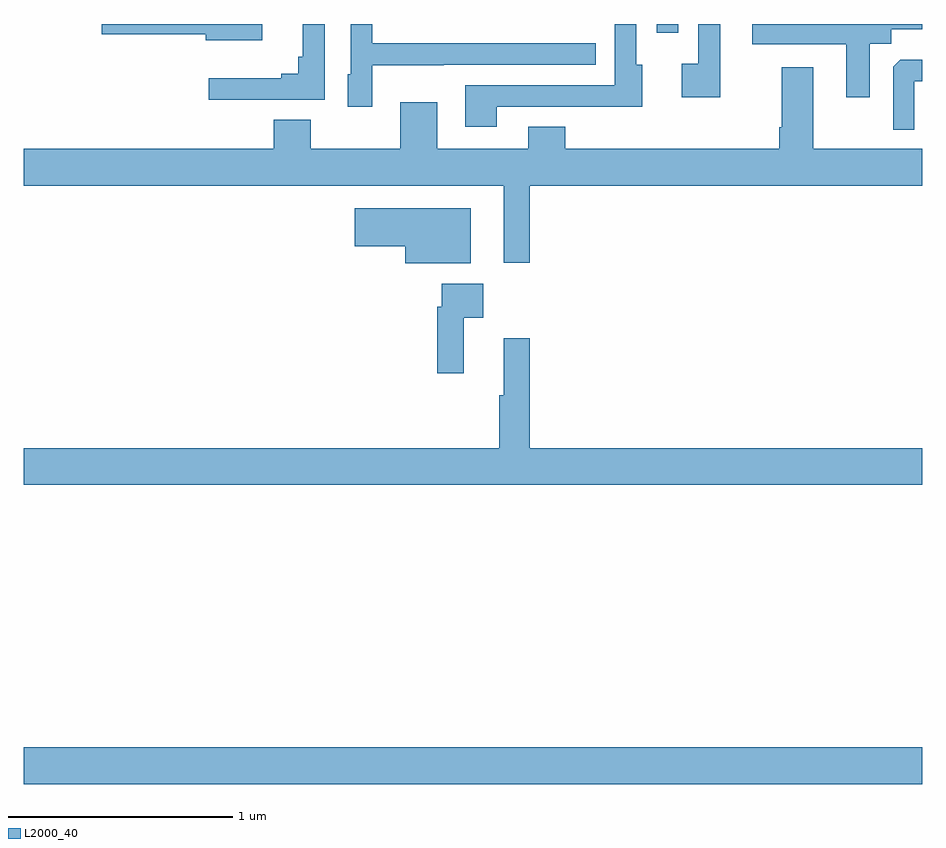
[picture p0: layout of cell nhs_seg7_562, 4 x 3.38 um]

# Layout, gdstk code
import gdstk
lib = gdstk.Library(unit=1e-6, precision=1e-09)
def R(c, l, rs):  # rectangles x0, y0, x1, y1
    for r in rs: c.add(gdstk.rectangle(r[:2], r[2:], *l))
def P(c, l, *ps):  # polygons
    for p in ps: c.add(gdstk.Polygon(p, *l))
L2000_40 = (2000, 40)

nhs_seg7_562 = lib.new_cell('nhs_seg7_562')
R(nhs_seg7_562, L2000_40, [(155,1000.616,159,1000.78), (157.818,1003.962,157.914,1004)])
P(nhs_seg7_562, L2000_40, [(156.339,1004),(156.242,1004),(156.242,1003.855),(156.223,1003.855),(156.223,1003.778),(156.146,1003.778),(156.146,1003.759),(155.823,1003.759),(155.823,1003.662),(156.339,1003.662)],
  [(158.101,1004),(158.004,1004),(158.004,1003.822),(157.929,1003.822),(157.929,1003.674),(158.101,1003.674)],
  [(157.105,1003.632),(157.535,1003.632),(157.535,1003.631),(157.753,1003.631),(157.753,1003.818),(157.728,1003.818),(157.728,1004),(157.632,1004),(157.632,1003.728),(156.965,1003.728),(156.965,1003.542),(157.105,1003.542)],
  [(156.061,1004),(155.346,1004),(155.346,1003.955),(155.81,1003.955),(155.81,1003.928),(156.061,1003.928)],
  [(158.767,1003.912),(158.862,1003.912),(158.862,1003.976),(159,1003.976),(159,1004),(158.243,1004),(158.243,1003.91),(158.663,1003.91),(158.663,1003.674),(158.767,1003.674)],
  [(156.552,1003.817),(156.869,1003.817),(156.869,1003.818),(157.547,1003.818),(157.547,1003.914),(156.552,1003.914),(156.552,1004),(156.456,1004),(156.456,1003.776),(156.443,1003.776),(156.443,1003.632),(156.552,1003.632)],
  [(158.964,1003.746),(159,1003.746),(159,1003.841),(158.903,1003.841),(158.871,1003.809),(158.871,1003.529),(158.964,1003.529)],
  [(157.253,1003.28),(159,1003.28),(159,1003.444),(158.515,1003.444),(158.515,1003.807),(158.375,1003.807),(158.375,1003.54),(158.363,1003.54),(158.363,1003.444),(157.411,1003.444),(157.411,1003.543),(157.247,1003.543),(157.247,1003.444),(156.841,1003.444),(156.841,1003.651),(156.677,1003.651),(156.677,1003.444),(156.277,1003.444),(156.277,1003.573),(156.113,1003.573),(156.113,1003.444),(155,1003.444),(155,1003.28),(157.136,1003.28),(157.136,1002.936),(157.253,1002.936)],
  [(156.991,1003.18),(156.474,1003.18),(156.474,1003.01),(156.698,1003.01),(156.698,1002.935),(156.991,1002.935)],
  [(156.959,1002.692),(157.045,1002.692),(157.045,1002.844),(156.861,1002.844),(156.861,1002.74),(156.841,1002.74),(156.841,1002.444),(156.959,1002.444)],
  [(159,1002.112),(157.253,1002.112),(157.253,1002.601),(157.136,1002.601),(157.136,1002.348),(157.117,1002.348),(157.117,1002.112),(155,1002.112),(155,1001.948),(159,1001.948)])

lib.write_gds('nhs_seg7_562.gds')
